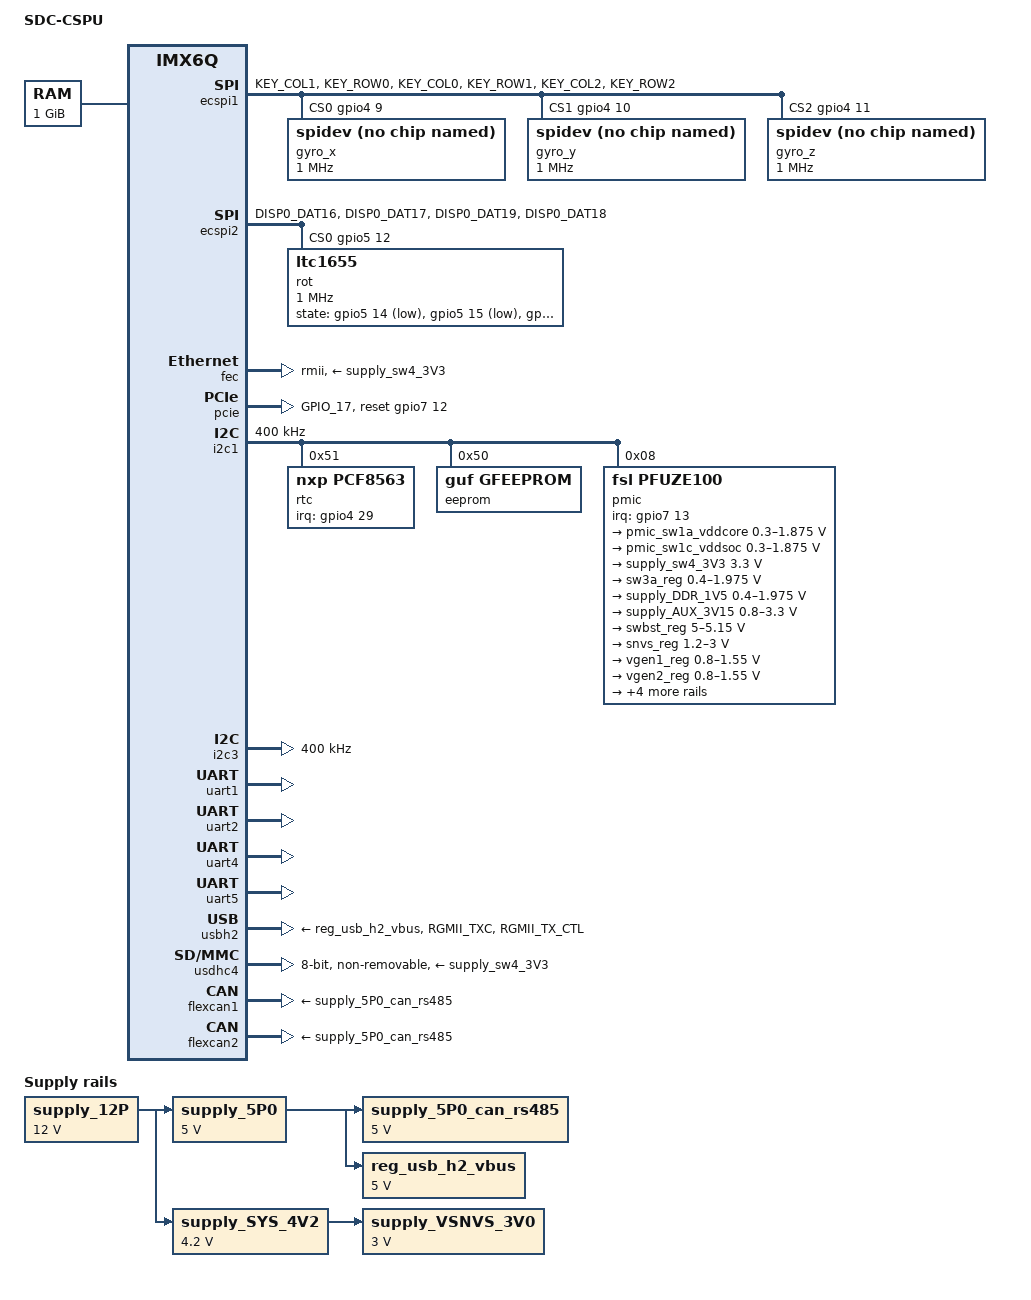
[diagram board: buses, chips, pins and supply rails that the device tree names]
/*
 * Copyright (C) 2015 Garz & Fricke GmbH
 *
 * This program is free software; you can redistribute it and/or modify
 * it under the terms of the GNU General Public License version 2 as
 * published by the Free Software Foundation.
 */

/dts-v1/;

#include "imx6q-guf.dtsi"

/ {
	model = "SDC-CSPU";
	compatible = "guf,imx6q-sdc-cspu","guf,imx6q-santaro", "fsl,imx6q";

	hw_revision_fixup: hw_revision_fixup{
		/* Availble revisions with major and minor, first revision 
		   is the default where the devicetree works without any changes */
		revisions = <1 0
					 1 1
					 >;
	};



	aliases {
		serial0 = &uart2;
		serial1 = &uart1;
		serial2 = &uart4;
		serial3 = &uart5;

		spi0 = &ecspi1;
		spi1 = &ecspi2;

	};

	memory {
		reg = <0x10000000 0x40000000>;
	};

	leds {
		compatible = "gpio-leds";
	};

	gpioexport:gpio-export{
		compatible = "gpio-of-export";

	};

	regulators {
		compatible = "simple-bus";

		supply_12P: 12P_supply {
			compatible = "regulator-fixed";
			regulator-name = "12P";
			regulator-min-microvolt = <12000000>;
			regulator-max-microvolt = <12000000>;
			regulator-always-on;
		};
		supply_5P0: 5P0_supply {
			compatible = "regulator-fixed";
			regulator-name = "5P0";
			regulator-min-microvolt = <5000000>;
			regulator-max-microvolt = <5000000>;
			regulator-always-on;
			vin-supply = <&supply_12P>;
		};
		supply_SYS_4V2: SYS_4V2_supply {
			compatible = "regulator-fixed";
			regulator-name = "SYS_4V2";
			regulator-min-microvolt = <4200000>;
			regulator-max-microvolt = <4200000>;
			regulator-always-on;
			vin-supply = <&supply_12P>;
		};

		supply_5P0_can_rs485: can_rs485_supply {
			compatible = "regulator-fixed";
			regulator-name = "5P0_CAN_RS485";
			regulator-min-microvolt = <5000000>;
			regulator-max-microvolt = <5000000>;
			regulator-always-on;

			vin-supply = <&supply_5P0>;
		};

		reg_usb_h2_vbus: usb_h2_vbus {
			compatible = "regulator-fixed";
			regulator-name = "usb_h2_vbus";
			regulator-min-microvolt = <5000000>;
			regulator-max-microvolt = <5000000>;
			vin-supply = <&supply_5P0> ;
			regulator-always-on;
		};

		supply_VSNVS_3V0: VSNVS_3V0_supply {
			compatible = "regulator-fixed";
			regulator-name = "VSNVS_3V0";
			regulator-min-microvolt = <3000000>;
			regulator-max-microvolt = <3000000>;
			regulator-always-on;
			vin-supply = <&supply_SYS_4V2>;
		};

	};
};
&anatop_vdd1p1{
		vin-supply = <&supply_VSNVS_3V0>;
};
&anatop_vdd3p0{
		vin-supply = <&reg_usb_h2_vbus>;
};
&anatop_vdd2p5{
		vin-supply = <&supply_VSNVS_3V0>;
};

&gpio1{
	gpio-default-label = "gpio-%d";
	gpio-label-10 = "cfs_01";
	gpio-label-11 = "cfs_02";
	gpio-label-12 = "cfs_03";
	gpio-label-13 = "cfs_04";
	gpio-label-14 = "cfs_05";
	gpio-label-15 = "cfs_06";
	gpio-label-16 = "cfs_07";
	gpio-label-17 = "cfs_08";
};
&gpio4{
	gpio-default-label = "gpio-%d";
	gpio-label-16 = "gnss1_reset_b";
	gpio-label-17 = "gnss2_reset_b";
	gpio-label-18 = "gyro_reset_b";
	gpio-label-19 = "hmu_mode";
	gpio-label-20 = "hmu_pwr";
	gpio-label-21 = "hmu_pwr_fault_b";
	gpio-label-22 = "gnss1_1pps";
	gpio-label-23 = "gnss2_1pps";
	gpio-label-24 = "discrete_in1";
	gpio-label-25 = "discrete_in2";
	gpio-label-26 = "gnss1_pwr_ok";
	gpio-label-27 = "gnss2_pwr_ok";
	gpio-label-28 = "gnss1_ant_ok";
	gpio-label-30 = "pfo_5p0";
	gpio-label-31 = "clear_all";
};

&gpio5{
	gpio-default-label = "gpio-%d";
	gpio-label-5 = "magn_pwr_ok";
	gpio-label-6 = "gyro_pwr_ok";
	gpio-label-7 = "sbx4_pwr_ok";
	gpio-label-8 = "sbx4_ant_ok";
	gpio-label-9 = "mfg_id";
	gpio-label-14 = "rot_5p0_ok";
	gpio-label-15 = "rot_12p0_ok";
	gpio-label-16 = "rot_12n0_ok";
	gpio-label-18 = "led_uc1";
	gpio-label-19 = "led_uc2";
	gpio-label-20 = "relay_heading_ok";
	gpio-label-21 = "relay_fault";
	gpio-label-22 = "relay_spare1";
	gpio-label-23 = "relay_spare2";
	gpio-label-24 = "i2c3_txled_b";
	gpio-label-25 = "i2c3_rxled_b";
	gpio-label-28 = "sbx4_reset_b";
	gpio-label-29 = "sbx4_lock";
};

&gpio7{
	gpio-default-label = "gpio-%d";
	gpio-label-7 = "keypad_vcc";
};

&gpioexport{
		/* Third gpio option are the flags, with custom meaning. */
		/*   bit 1   act-low	*/
		/*   bit 2   init high	*/

		gpio-grp-keypad_fixed_in{
			pinctrl-names = "default";
			pinctrl-0 = <&pinctrl_gpio_export_gpio_fixed_in>;

			direction-not-changeable;
			direction-input;
			
			gpios =	
					<&gpio1 10 1>,		/*  CFS_01 */
					<&gpio1 11 1>,		/*  CFS_02 */
					<&gpio1 12 1>,		/*  CFS_03 */
					<&gpio1 13 1>,		/*  CFS_04 */
					<&gpio1 14 1>,		/*  CFS_05 */
					<&gpio1 15 1>,		/*  CFS_06 */
					<&gpio1 16 1>,		/*  CFS_07 */
					<&gpio1 17 1>,		/*  CFS_08 */

					<&gpio4 19 0>,		/*  HMU_MODE */
					<&gpio4 21 1>,		/*  HMU_PWR_FAULT_B */

					<&gpio4 22 0>,		/*  GNSS1_1PPS */
					<&gpio4 23 0>,		/*  GNSS2_1PPS */
					<&gpio4 24 1>,		/*  DISCRETE_IN1 */
					<&gpio4 25 1>,		/*  DISCRETE_IN2 */
					<&gpio4 26 1>,		/*  GNSS1_PWR_OK */
					<&gpio4 27 0>,		/*  GNSS2_PWR_OK */
					<&gpio4 28 1>,		/*  GNSS1_ANT_OK */
					<&gpio4 30 0>,		/*  PFO_5P0 */

					<&gpio5  5 0>,		/*  MAGN_PWR_OK */
					<&gpio5  6 0>,		/*  GYRO_PWR_OK */
					<&gpio5  7 1>,		/*  SBX4_PWR_OK */
					<&gpio5  8 1>,		/*  SBX4_ANT_OK */
					<&gpio5 14 1>,		/*  ROT_5P0_OK */
					<&gpio5 15 1>,		/*  ROT_12P0_OK */
					<&gpio5 16 1>,		/*  ROT_12N0_OK */

					<&gpio5 29 0>,		/*  SBX4_LOCK */
					<&gpio4 31 1>;		/*  CLEAR_ALL */

			status = "okay";
		};

		gpio-grp-keypad_fixed_out{
			pinctrl-names = "default";
			pinctrl-0 = <&pinctrl_gpio_export_gpio_fixed_out>;

			direction-not-changeable;
			direction-output;
			
			/* Sysfs with changeable direction */
			gpios =	
					<&gpio4 16 3>,		/*  GNSS1_RESET_B */
					<&gpio4 17 3>,		/*  GNSS2_RESET_B */
					<&gpio4 18 1>,		/*  GYRO_RESET_B */

					<&gpio4 20 0>,		/*  HMU_PWR */

					<&gpio5 18 2>,		/*  LED_UC1 */
					<&gpio5 19 2>,		/*  LED_UC2 */
					<&gpio5 20 0>,		/*  RELAY_HEADING_OK */
					<&gpio5 21 0>,		/*  RELAY_FAULT */
					<&gpio5 22 0>,		/*  RELAY_SPARE1 */
					<&gpio5 23 0>,		/*  RELAY_SPARE2 */
					<&gpio5 24 3>,		/*  I2C3_TXLED_B */
					<&gpio5 25 3>,		/*  I2C3_RXLED_B */
					<&gpio5 28 3>;		/*  SBX4_RESET_B */

			status = "okay";
		};
};


&sdma{
	iram = <&ocram>;
};

&cpu0 {
	arm-supply = <&pmic_sw1a_vddcore>;
	soc-supply = <&pmic_sw1c_vddsoc>;
	pu-supply = <&pu_dummy>; /* use pu_dummy if VDDSOC share with VDDPU */
};

&ecspi1 {
	fsl,spi-num-chipselects = <3>;
	cs-gpios = 
		<&gpio4 9 0>,
		<&gpio4 10 0>,
		<&gpio4 11 0>;
	pinctrl-names = "default";
	pinctrl-0 = <&pinctrl_ecspi1_3>;
	status = "okay";

	gyro_x@0x00 {
		reg = <0>;
		compatible = "spidev";
		spi-max-frequency = <1000000>;
	};
	gyro_y@0x01 {
		reg = <1>;
		compatible = "spidev";
		spi-max-frequency = <1000000>;
	};
	gyro_z@0x02 {
		reg = <2>;
		compatible = "spidev";
		spi-max-frequency = <1000000>;
	};
};

&ecspi2 {
	fsl,spi-num-chipselects = <1>;
	cs-gpios = 
		<&gpio5 12 0>;
	pinctrl-names = "default";
	pinctrl-0 = <&pinctrl_ecspi2_1>;
	status = "okay";

    rot: rot@0x00 {
		reg = <0>;
		compatible = "ltc1655";
		spi-max-frequency = <1000000>;

		/* Just to read, configuration has to be done somewhere else */
		state-gpio = 
			<&gpio5 14 1>,		/*  ROT_5P0_OK */
			<&gpio5 15 1>,		/*  ROT_12P0_OK */
			<&gpio5 16 1>;		/*  ROT_12N0_OK */

	};
};

/* Since HW Version 1.1 there is an enable gpio available for the ROT DAC */
&hw_revision_fixup {
	rot_ltc1655_hw_1_1 {
		overwrite = < 1 1 &rot>;   /* <   major minor node */
		enable-gpio = <&gpio5 17 1>; /*  ROT_EN */
	};
};

&fec {
	pinctrl-names = "default";
	pinctrl-0 = <&pinctrl_enet_4>;
	phy-mode = "rmii";
	status = "okay";
	local-mac-address = [00 07 8E 14 72 F8]; 
	phy-supply = <&supply_sw4_3V3>;
};

&pcie {
	status = "okay";
	reset-gpio = <&gpio7 12 0>;

	pinctrl-names = "default";
	pinctrl-0 = <&pinctrl_pcie>;
};

&gpc {
	fsl,cpu_pupscr_sw2iso = <0xf>;
	fsl,cpu_pupscr_sw = <0xf>;
	fsl,cpu_pdnscr_iso2sw = <0x1>;
	fsl,cpu_pdnscr_iso = <0x1>;
	fsl,ldo-bypass = <1>; /* use ldo-bypass, */
	fsl,wdog-reset = <1>; /* watchdog select of reset source */
	fsl,wdog-reset-srs = <0>; /* watchdog triggers the software reset */
	fsl,wdog-reset-wdog-b = <1>; /* watchdog triggers the external wdog reset */
	pu-supply = <&pu_dummy>; /* ldo-bypass:use pu_dummy if VDDSOC share with VDDPU */
};

&pu_dummy {
		regulator-always-on;
};
&sdma{
		fsl,sdma-ram-script-name = "imx/sdma/sdma-imx6q-to1.bin";
};

&i2c1 {
	clock-frequency = <400000>;
	pinctrl-names = "default", "gpio";
	pinctrl-0 = <&pinctrl_i2c1_2>;
    pinctrl-1 = <&pinctrl_i2c1_2_gpio>;
	status = "okay";

	gpio-scl = <&gpio5 26 0>;
	gpio-sda = <&gpio5 27 0>;

	rtc: rtcpcf8563@51 {
		compatible = "nxp,pcf8563";
		reg = <0x51>;

		pinctrl-names = "default";
		pinctrl-0 = <&pinctrl_rtc>;

		interrupts = <29 0x4>; 
		interrupt-parent = <&gpio4>;
	};

	eeprom: eeprom@50 {
			compatible = "guf,gfeeprom";
			reg = <0x50>;
			pagesize = <32>;
			bytelen = <4096>;
			bus-id = <0>;
			flags = <0x80>;		/* AT24_FLAG_ADDR16 */
	   };

	pmic: pfuze100@08 {
		compatible = "fsl,pfuze100";
		reg = <0x08>;

		pinctrl-names = "default";
		pinctrl-0 = <&pinctrl_pmic_1>;

		interrupts = <13 0x4>; 
		interrupt-parent = <&gpio7>;

		regulators {
			pmic_sw1a_vddcore: sw1ab {
				regulator-name = "VDD_CORE (sw1a)";
				regulator-min-microvolt = <300000>;
				regulator-max-microvolt = <1875000>;
				regulator-boot-on;
				regulator-always-on;
				regulator-ramp-delay = <6250>;

				default-voltage = <1300000>;
				
				vin-supply = <&supply_SYS_4V2>;
			};

			pmic_sw1c_vddsoc: sw1c {
				regulator-name = "VDD_SOC (sw1c)";
				regulator-min-microvolt = <300000>;
				regulator-max-microvolt = <1875000>;
				regulator-boot-on;
				regulator-always-on;
				regulator-ramp-delay = <6250>;

				default-voltage = <1300000>;

				vin-supply = <&supply_SYS_4V2>;
			};

			supply_sw4_3V3: sw2 {
				regulator-name = "SW4_3V3 (sw2)";
				regulator-min-microvolt = <3300000>;
				regulator-max-microvolt = <3300000>;
				regulator-boot-on;
				regulator-always-on;

				default-voltage = <3300000>;
				vin-supply = <&supply_SYS_4V2>;
			};

			sw3a_reg: sw3a {
				regulator-name = "DDR_1V5 (sw3a)";
				regulator-min-microvolt = <400000>;
				regulator-max-microvolt = <1975000>;
				regulator-boot-on;
				regulator-always-on;

				default-voltage = <1500000>;
				vin-supply = <&supply_SYS_4V2>;
			};

			supply_DDR_1V5: sw3b {
				regulator-name = "DDR_1V5 (sw3b)";
				regulator-min-microvolt = <400000>;
				regulator-max-microvolt = <1975000>;
				regulator-boot-on;
				regulator-always-on;

				default-voltage = <1500000>;
				vin-supply = <&supply_SYS_4V2>;
			};

			supply_AUX_3V15: sw4 {
				regulator-name = "AUX 3V15 (sw4)";
				regulator-min-microvolt = <800000>;
				regulator-max-microvolt = <3300000>;

				default-voltage = <3150000>;

				vin-supply = <&supply_SYS_4V2>;
			};

			swbst_reg: swbst {
				status = "disabled";
				regulator-min-microvolt = <5000000>;
				regulator-max-microvolt = <5150000>;
				regulator-boot-on;
				regulator-always-on;

				default-voltage = <5000000>;
			};

			snvs_reg: vsnvs {
				regulator-min-microvolt = <1200000>;
				regulator-max-microvolt = <3000000>;
				regulator-boot-on;
				regulator-always-on;

				default-voltage = <3000000>;
				vin-supply = <&supply_SYS_4V2>;
			};

			vref_reg: vrefddr {
				regulator-boot-on;
				regulator-always-on;

				default-voltage = <750000>;
				vin-supply = <&supply_DDR_1V5>;
			};

			vgen1_reg: vgen1 {
				regulator-min-microvolt = <800000>;
				regulator-max-microvolt = <1550000>;
				regulator-always-on;

				default-voltage = <1500000>;
				vin-supply = <&supply_AUX_3V15>;
			};

			vgen2_reg: vgen2 {
				regulator-min-microvolt = <800000>;
				regulator-max-microvolt = <1550000>;
				regulator-always-on;

				default-voltage = <1200000>;
				vin-supply = <&supply_AUX_3V15>;
			};

			vgen3_reg: vgen3 {
				regulator-min-microvolt = <1800000>;
				regulator-max-microvolt = <3300000>;
				regulator-always-on;

				default-voltage = <2500000>;
				vin-supply = <&supply_sw4_3V3>;
			};

			vgen4_reg: vgen4 {
				regulator-min-microvolt = <1800000>;
				regulator-max-microvolt = <3300000>;
				regulator-always-on;
				regulator-boot-on;

				default-voltage = <1800000>;
				vin-supply = <&supply_sw4_3V3>;
			};

			vgen5_reg: vgen5 {
				regulator-min-microvolt = <1800000>;
				regulator-max-microvolt = <3300000>;
				regulator-always-on;
				regulator-boot-on;

				default-voltage = <2800000>;
				vin-supply = <&supply_SYS_4V2>;
			};

			vgen6_reg: vgen6 {
				regulator-min-microvolt = <1800000>;
				regulator-max-microvolt = <3300000>;
				regulator-always-on;

				default-voltage = <2800000>;
				vin-supply = <&supply_SYS_4V2>;
			};
		};
	};

};

&i2c3 {
	clock-frequency = <400000>;
	pinctrl-names = "default", "gpio";
	pinctrl-0 = <&pinctrl_i2c3_5>;
	pinctrl-1 = <&pinctrl_i2c3_5_gpio>;
	status = "okay";

	gpio-scl = <&gpio1 5 0>;
	gpio-sda = <&gpio1 6 0>;
	
};

&wdog1 {

	fsl,default-timeout = <60>;	/* Default timeout on seconds */
	fsl,reset-wdog-b = <1>;		/* watchdog triggers the external wdog reset */

	pinctrl-names = "default";
	pinctrl-0 = <&pinctrl_wdog1_1>;
};

&uart1 {
	pinctrl-names = "default";
	pinctrl-0 = <&pinctrl_uart1_3>;
	status = "okay";
};
&uart2 {
	pinctrl-names = "default";
	pinctrl-0 = <&pinctrl_uart2_3>;
	status = "okay";
};
&uart4 {
	pinctrl-names = "default";
	pinctrl-0 = <&pinctrl_uart4_3>;
	status = "okay";
};
&uart5 {
	pinctrl-names = "default";
	pinctrl-0 = <&pinctrl_uart5_4>;
	status = "okay";
};

&usbh2 {
	vbus-supply = <&reg_usb_h2_vbus>;
	osc-clkgate-delay = <0x3>;

	pinctrl-names = "idle", "active";
	pinctrl-0 = <&pinctrl_usbh2_3>;
	pinctrl-1 = <&pinctrl_usbh2_active_3>;

	status = "okay";
};

/* emmc */
&usdhc4 {
	pinctrl-names = "default";
	pinctrl-0 = <&pinctrl_usdhc4_1>;
	bus-width = <8>;
	non-removable;
	no-1-8-v;
	keep-power-in-suspend;

	vmmc-supply = <&supply_sw4_3V3>;

	status = "okay";
};

&flexcan1 {
	pinctrl-names = "default";
	pinctrl-0 = <&pinctrl_flexcan1_3>;
	status = "okay";
	
	xceiver-supply = <&supply_5P0_can_rs485>;
};

&flexcan2 {
	pinctrl-names = "default";
	pinctrl-0 = <&pinctrl_flexcan2_2>;
	status = "okay";
	
	xceiver-supply = <&supply_5P0_can_rs485>;
};

&iomuxc {

	wdog1{
		pinctrl_wdog1_1: wdoggrp-1 {
			fsl,pins = <
				MX6QDL_PAD_GPIO_9__WDOG1_B 0x80000000
				>;
			};
	};

	pmic{
		pinctrl_pmic_1: pmic_grp-1 {
			fsl,pins = <
				MX6QDL_PAD_GPIO_18__GPIO7_IO13 0x80000000	/* PMIC_INT_B */
				>;
			};
	};

	pfid{
		pinctrl_pfid: pfid_grp{
			fsl,pins = <
				MX6QDL_PAD_NANDF_D0__GPIO2_IO00		0x80000000		/*  PFID0 *	/
				MX6QDL_PAD_NANDF_D1__GPIO2_IO01		0x80000000		/*  PFID1 *	/
				MX6QDL_PAD_NANDF_D2__GPIO2_IO02		0x80000000		/*  PFID2 *	/
				MX6QDL_PAD_NANDF_D3__GPIO2_IO03		0x80000000		/*  PFID3 *	/
				MX6QDL_PAD_NANDF_D4__GPIO2_IO04		0x80000000		/*  PFID4 *	/
				MX6QDL_PAD_NANDF_D5__GPIO2_IO05		0x80000000		/*  PFID5 *	/
				MX6QDL_PAD_NANDF_D6__GPIO2_IO06		0x80000000		/*  PFID6 *	/
				MX6QDL_PAD_NANDF_D7__GPIO2_IO07		0x80000000		/*  PFID7 *	/

				MX6QDL_PAD_NANDF_CS3__GPIO6_IO16 	0x80000000		/*  PFID8 *	/
				MX6QDL_PAD_NANDF_CS1__GPIO6_IO14 	0x00000010		/*  PFID9 *	/ /* PAD_CTL_DSE_120ohm  (2 << 3)*/
				MX6QDL_PAD_NANDF_CS2__GPIO6_IO15 	0x80000000		/*  PFID10 */
			>;
			};
	};

	gpio_export{
		pinctrl_gpio_export_gpio_fixed_in: pinctrl_gpio_grp-4 {
			fsl,pins = <
				MX6QDL_PAD_SD2_CLK__GPIO1_IO10				0x80000000		/*  CFS_01 */
				MX6QDL_PAD_SD2_CMD__GPIO1_IO11				0x80000000		/*  CFS_02 */
				MX6QDL_PAD_SD2_DAT3__GPIO1_IO12				0x80000000		/*  CFS_03 */
				MX6QDL_PAD_SD2_DAT2__GPIO1_IO13				0x80000000		/*  CFS_04 */
				MX6QDL_PAD_SD2_DAT1__GPIO1_IO14				0x80000000		/*  CFS_05 */
				MX6QDL_PAD_SD2_DAT0__GPIO1_IO15				0x80000000		/*  CFS_06 */
				MX6QDL_PAD_SD1_DAT0__GPIO1_IO16				0x00000010		/*  CFS_07 */ /* PAD_CTL_DSE_120ohm  (2 << 3)*/
				MX6QDL_PAD_SD1_DAT1__GPIO1_IO17				0x00000010		/*  CFS_08 */ /* PAD_CTL_DSE_120ohm  (2 << 3)*/

				MX6QDL_PAD_DI0_PIN3__GPIO4_IO19				0x80000000		/*  HMU_MODE */
				MX6QDL_PAD_DISP0_DAT0__GPIO4_IO21 			0x80000000		/*  HMU_PWR_FAULT_B */

				MX6QDL_PAD_DISP0_DAT1__GPIO4_IO22 			0x80000000		/*  GNSS1_1PPS */
				MX6QDL_PAD_DISP0_DAT2__GPIO4_IO23 			0x80000000		/*  GNSS2_1PPS */
				MX6QDL_PAD_DISP0_DAT3__GPIO4_IO24 			0x80000000		/*  DISCRETE_IN1 */
				MX6QDL_PAD_DISP0_DAT4__GPIO4_IO25 			0x80000000		/*  DISCRETE_IN2 */
				MX6QDL_PAD_DISP0_DAT5__GPIO4_IO26 			0x80000000		/*  GNSS1_PWR_OK */
				MX6QDL_PAD_DISP0_DAT6__GPIO4_IO27 			0x80000000		/*  GNSS2_PWR_OK */
				MX6QDL_PAD_DISP0_DAT7__GPIO4_IO28			0x80000000		/*  GNSS1_ANT_OK */
				MX6QDL_PAD_DISP0_DAT9__GPIO4_IO30			0x80000000		/*  PFO_5P0 */

				MX6QDL_PAD_DISP0_DAT11__GPIO5_IO05			0x80000000		/*  MAGN_PWR_OK */
				MX6QDL_PAD_DISP0_DAT12__GPIO5_IO06			0x80000000		/*  GYRO_PWR_OK */
				MX6QDL_PAD_DISP0_DAT13__GPIO5_IO07 			0x80000000		/*  SBX4_PWR_OK */
				MX6QDL_PAD_DISP0_DAT14__GPIO5_IO08			0x80000000		/*  SBX4_ANT_OK */
				MX6QDL_PAD_DISP0_DAT15__GPIO5_IO09			0x00000010		/*  MFG_ID *//* PAD_CTL_DSE_120ohm  (2 << 3)*/
				MX6QDL_PAD_DISP0_DAT20__GPIO5_IO14			0x80000000		/*  ROT_5P0_OK */
				MX6QDL_PAD_DISP0_DAT21__GPIO5_IO15			0x80000000		/*  ROT_12P0_OK */
				MX6QDL_PAD_DISP0_DAT22__GPIO5_IO16			0x80000000		/*  ROT_12N0_OK */

				MX6QDL_PAD_CSI0_DAT11__GPIO5_IO29			0x80000000		/*  SBX4_LOCK */

				MX6QDL_PAD_DISP0_DAT10__GPIO4_IO31			0x80000000		/*  CLEAR_ALL */
			>;
			};
		pinctrl_gpio_export_gpio_fixed_out: pinctrl_gpio_grp-5 {
			fsl,pins = <
				MX6QDL_PAD_DI0_DISP_CLK__GPIO4_IO16			0x00000800		/*  GNSS1_RESET_B *//* PAD_CTL_ODE  (1 << 11)*/
				MX6QDL_PAD_DI0_PIN15__GPIO4_IO17			0x00000800		/*  GNSS2_RESET_B *//* PAD_CTL_ODE  (1 << 11)*/
				MX6QDL_PAD_DI0_PIN2__GPIO4_IO18				0x80000000		/*  GYRO_RESET_B */

				MX6QDL_PAD_DI0_PIN4__GPIO4_IO20				0x80000000		/*  HMU_PWR */

				MX6QDL_PAD_CSI0_PIXCLK__GPIO5_IO18			0x80000000		/*  LED_UC1 */
				MX6QDL_PAD_CSI0_MCLK__GPIO5_IO19			0x80000000		/*  LED_UC2 */
				MX6QDL_PAD_CSI0_DATA_EN__GPIO5_IO20			0x80000000		/*  RELAY_HEADING_OK */
				MX6QDL_PAD_CSI0_VSYNC__GPIO5_IO21			0x80000000		/*  RELAY_FAULT */
				MX6QDL_PAD_CSI0_DAT4__GPIO5_IO22			0x80000000		/*  RELAY_SPARE1 */
				MX6QDL_PAD_CSI0_DAT5__GPIO5_IO23			0x00000010		/*  RELAY_SPARE2 *//* PAD_CTL_DSE_120ohm  (2 << 3)*/
				MX6QDL_PAD_CSI0_DAT6__GPIO5_IO24			0x80000000		/*  I2C3_TXLED_B */
				MX6QDL_PAD_CSI0_DAT7__GPIO5_IO25			0x00000010		/*  I2C3_RXLED_B *//* PAD_CTL_DSE_120ohm  (2 << 3)*/
				MX6QDL_PAD_CSI0_DAT10__GPIO5_IO28			0x80000000		/*  SBX4_RESET_B */

			>;
			};
	};
	ltc1655{
		pinctrl_ltc1655: ltc1655-grp-1{
			fsl,pins = <
				MX6QDL_PAD_DISP0_DAT23__GPIO5_IO17			0x80000000		/*  ROT_EN */
				>;
		};
	};

	pcie{
		pinctrl_pcie: pcie-1-grp-1{
			fsl,pins = <
				MX6QDL_PAD_GPIO_17__GPIO7_IO12				0x80000000		/*  PCI_RESET_B */
				>;
			};
	};
	rtc{
		pinctrl_rtc: rtc-grp-1{
			fsl,pins = <
				MX6QDL_PAD_DISP0_DAT8__GPIO4_IO29   0x80000000         /*RTC INT*/
				>;
			};
	};

	usbh2 {
		pinctrl_usbh2_3: usbh2grp-3 {
			fsl,pins = <
				MX6QDL_PAD_RGMII_TXC__USB_H2_DATA      0x00013038
				MX6QDL_PAD_RGMII_TX_CTL__USB_H2_STROBE 0x00013038
			>;
		};
		pinctrl_usbh2_active_3: usbh2_active_grp-3 {
			fsl,pins = <
				MX6QDL_PAD_RGMII_TXC__USB_H2_DATA      0x00013038
				MX6QDL_PAD_RGMII_TX_CTL__USB_H2_STROBE 0x00017038
			>;
		};
	};

	ecspi1 {
		pinctrl_ecspi1_3: ecspi1-grp-3 {
			fsl,pins = <
				MX6QDL_PAD_KEY_COL1__ECSPI1_MISO		0x80000000
				MX6QDL_PAD_KEY_ROW0__ECSPI1_MOSI		0x80000000
				MX6QDL_PAD_KEY_COL0__ECSPI1_SCLK		0x80000000
				
				/* chip selects muxed as GPIOs */
				MX6QDL_PAD_KEY_ROW1__GPIO4_IO09			0x80000000
				MX6QDL_PAD_KEY_COL2__GPIO4_IO10         0x80000000
				MX6QDL_PAD_KEY_ROW2__GPIO4_IO11         0x80000000
			>;
		};
	};

	ecspi2 {
		pinctrl_ecspi2_1: ecspi2-grp-1 {
			fsl,pins = <
				MX6QDL_PAD_DISP0_DAT16__ECSPI2_MOSI		0x80000000
				MX6QDL_PAD_DISP0_DAT17__ECSPI2_MISO		0x80000000
				MX6QDL_PAD_DISP0_DAT19__ECSPI2_SCLK		0x80000000
				/* chip selects muxed as GPIOs */
				MX6QDL_PAD_DISP0_DAT18__GPIO5_IO12		0x80000000
			>;
		};
	};
};

&cpu0 {
	operating-points = <
		/* kHz    uV */
		1200000 1275000
		996000  1250000
		852000  1250000
		792000  1175000
		396000   950000
		>;
	/* 400Mhz and 800MHz voltage adapted , because the pmic isn't reset on system reset, and the system does not comes up well with 1V, should later either have two dtb files or handled in the board file  */
	fsl,soc-operating-points = <
		/* ARM kHz  SOC-PU uV */
		1200000       1275000
		996000        1275000
		852000        1275000
		792000        1200000 /* There is a drop between soc in  and soc cap so I give it an extra 25mV */
		396000        1200000
		>;
};

/*==========================================================================================*/
/*==========================================================================================*/
/* Uncomment this to use clock out for debugging */
/*&iomuxc {*/
/*	pinctrl-names = "default";*/
/*	pinctrl-0 = <&pinctrl_hog_1>;*/
	/* System wide pin configs */
/*	hog {*/
/*		pinctrl_hog_1: hoggrp-1 {*/
/*			fsl,pins = <*/
				/* Clock out 12Mhz Ref */
/*				MX6QDL_PAD_CSI0_MCLK__CCM_CLKO1		0x17059  *//* PAD_CTL_PKE | PAD_CTL_PUE | PAD_CTL_PUS_47K_UP | PAD_CTL_SPEED_LOW | PAD_CTL_DSE_80ohm | PAD_CTL_SRE_FAST | PAD_CTL_HYS */
/*															 *//* (1 << 12)   | (1 << 13)   |(1 << 14)           | (1 << 6)          | (3 << 3)          |(1 << 0)          | (1 << 16)   */
/*			>;*/
/*		};*/
/*	};*/
/*};*/
/* Addidtionally remove/comment out these lines above: */
/* MX6QDL_PAD_CSI0_MCLK__GPIO5_IO19			0x80000000		*//*  LED_UC2 */
/*	<&gpio5 19 2>,	*/	/*  LED_UC2 */
/*==========================================================================================*/
/*==========================================================================================*/

/* LDO mode section */
/* #include "imx6qdl-guf-ldo-mode.dtsi"  */

